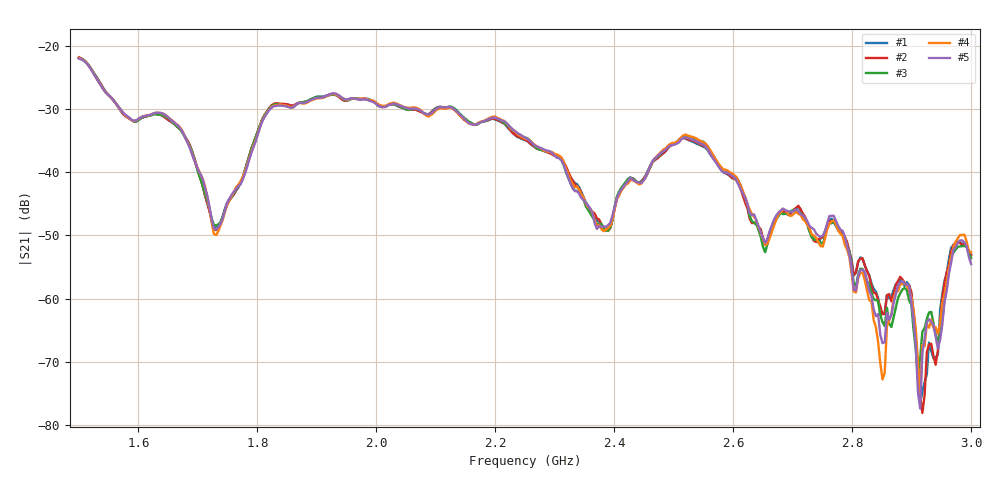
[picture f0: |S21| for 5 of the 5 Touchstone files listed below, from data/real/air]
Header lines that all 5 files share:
# HZ S RI R 50
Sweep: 1.5 GHz to 3 GHz
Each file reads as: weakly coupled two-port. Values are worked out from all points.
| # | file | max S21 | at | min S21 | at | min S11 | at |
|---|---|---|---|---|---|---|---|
| 1 | Air_078.s2p | -21.90 dB | 1.5 GHz | -76.6 dB | 2.914 GHz | -38.8 dB | 2.23 GHz |
| 2 | Air_080.s2p | -21.83 dB | 1.5 GHz | -78.0 dB | 2.918 GHz | -39.0 dB | 2.23 GHz |
| 3 | Air_092.s2p | -21.95 dB | 1.5 GHz | -72.6 dB | 2.911 GHz | -39.0 dB | 2.23 GHz |
| 4 | Air_098.s2p | -21.96 dB | 1.5 GHz | -75.6 dB | 2.914 GHz | -39.9 dB | 2.23 GHz |
| 5 | Air_099.s2p | -22.05 dB | 1.5 GHz | -77.4 dB | 2.914 GHz | -39.8 dB | 2.23 GHz |
